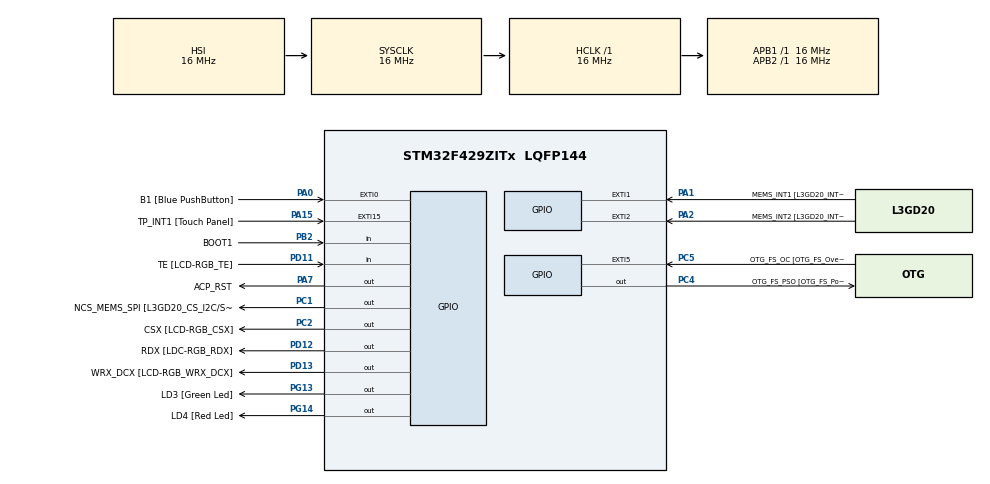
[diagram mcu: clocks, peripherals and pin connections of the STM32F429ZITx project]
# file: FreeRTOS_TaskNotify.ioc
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Mcu.Family=STM32F4
Mcu.Name=STM32F429ZITx
Mcu.Package=LQFP144
NVIC.PriorityGroup=NVIC_PRIORITYGROUP_4
NVIC.TIM6_DAC_IRQn=true\:0\:0\:false\:false\:true\:false\:true\:true
NVIC.TimeBase=TIM6_DAC_IRQn
NVIC.TimeBaseIP=TIM6
PA0/WKUP.GPIO_Label=B1 [Blue PushButton]
PA0/WKUP.GPIO_ModeDefaultEXTI=GPIO_MODE_EVT_RISING
PA0/WKUP.GPIO_PuPd=GPIO_NOPULL
PA0/WKUP.Signal=GPXTI0
PA1.GPIO_Label=MEMS_INT1 [L3GD20_INT1]
PA1.GPIO_ModeDefaultEXTI=GPIO_MODE_EVT_RISING
PA1.GPIO_PuPd=GPIO_NOPULL
PA1.Signal=GPXTI1
PA10.GPIO_Label=STLINK_TX [STM32F103CBT6_PA2]
PA10.Signal=USART1_RX
PA11.GPIO_Label=R4
PA11.GPIO_Mode=GPIO_MODE_AF_PP
PA11.GPIO_PuPd=GPIO_NOPULL
PA11.GPIO_Speed=GPIO_SPEED_FREQ_LOW
PA11.Signal=LTDC_R4
PA12.GPIO_Label=R5
PA12.GPIO_Mode=GPIO_MODE_AF_PP
PA12.GPIO_PuPd=GPIO_NOPULL
PA12.GPIO_Speed=GPIO_SPEED_FREQ_LOW
PA12.Signal=LTDC_R5
PA13.GPIO_Label=SWDIO
PA13.Mode=Serial_Wire
PA13.Signal=SYS_JTMS-SWDIO
PA14.GPIO_Label=SWCLK
PA14.Mode=Serial_Wire
PA14.Signal=SYS_JTCK-SWCLK
PA15.GPIO_Label=TP_INT1 [Touch Panel]
PA15.GPIO_ModeDefaultEXTI=GPIO_MODE_EVT_RISING
PA15.GPIO_PuPd=GPIO_NOPULL
PA15.Signal=GPXTI15
PA2.GPIO_Label=MEMS_INT2 [L3GD20_INT2]
PA2.GPIO_ModeDefaultEXTI=GPIO_MODE_EVT_RISING
PA2.GPIO_PuPd=GPIO_NOPULL
PA2.Signal=GPXTI2
PA3.GPIO_Label=B5
PA3.GPIO_Mode=GPIO_MODE_AF_PP
PA3.GPIO_PuPd=GPIO_NOPULL
PA3.GPIO_Speed=GPIO_SPEED_FREQ_LOW
PA3.Signal=LTDC_B5
PA4.GPIO_Label=VSYNC
PA4.GPIO_Mode=GPIO_MODE_AF_PP
PA4.GPIO_PuPd=GPIO_NOPULL
PA4.GPIO_Speed=GPIO_SPEED_FREQ_LOW
PA4.Signal=LTDC_VSYNC
PA6.GPIO_Label=G2
PA6.GPIO_Mode=GPIO_MODE_AF_PP
PA6.GPIO_PuPd=GPIO_NOPULL
PA6.GPIO_Speed=GPIO_SPEED_FREQ_LOW
PA6.Signal=LTDC_G2
PA7.GPIO_Label=ACP_RST
PA7.GPIO_Mode=GPIO_MODE_OUTPUT_PP
PA7.GPIO_PuPd=GPIO_NOPULL
PA7.GPIO_Speed=GPIO_SPEED_FREQ_LOW
PA7.Signal=GPIO_Output
PA8.GPIO_Label=I2C3_SCL [ACP/RF_SCL]
PA8.GPIO_Mode=GPIO_MODE_AF_OD
PA8.GPIO_PuPd=GPIO_NOPULL
PA8.GPIO_Speed=GPIO_SPEED_FREQ_LOW
PA8.Signal=I2C3_SCL
PA9.GPIO_Label=STLINK_RX [STM32F103CBT6_PA3]
PA9.Signal=USART1_TX
PB0.GPIO_Label=R3
PB0.GPIO_Mode=GPIO_MODE_AF_PP
PB0.GPIO_PuPd=GPIO_NOPULL
PB0.GPIO_Speed=GPIO_SPEED_FREQ_LOW
PB0.Signal=LTDC_R3
PB1.GPIO_Label=R6
PB1.GPIO_Mode=GPIO_MODE_AF_PP
PB1.GPIO_PuPd=GPIO_NOPULL
PB1.GPIO_Speed=GPIO_SPEED_FREQ_LOW
PB1.Signal=LTDC_R6
PB10.GPIO_Label=G4
PB10.GPIO_Mode=GPIO_MODE_AF_PP
PB10.GPIO_PuPd=GPIO_NOPULL
PB10.GPIO_Speed=GPIO_SPEED_FREQ_LOW
PB10.Signal=LTDC_G4
PB11.GPIO_Label=G5
PB11.GPIO_Mode=GPIO_MODE_AF_PP
PB11.GPIO_PuPd=GPIO_NOPULL
PB11.GPIO_Speed=GPIO_SPEED_FREQ_LOW
PB11.Signal=LTDC_G5
PB12.GPIO_Label=OTG_HS_ID
PB12.GPIO_Mode=GPIO_MODE_AF_PP
PB12.GPIO_PuPd=GPIO_NOPULL
PB12.GPIO_Speed=GPIO_SPEED_FREQ_LOW
PB12.Signal=USB_OTG_HS_ID
PB13.GPIO_Label=VBUS_HS
PB13.GPIO_Mode=GPIO_MODE_INPUT
PB13.GPIO_PuPd=GPIO_NOPULL
PB13.Signal=USB_OTG_HS_VBUS
PB14.GPIO_Label=OTG_HS_DM
PB14.GPIO_Mode=GPIO_MODE_AF_PP
PB14.GPIO_PuPd=GPIO_NOPULL
PB14.GPIO_Speed=GPIO_SPEED_FREQ_LOW
PB14.Signal=USB_OTG_HS_DM
PB15.GPIO_Label=OTG_HS_DP
PB15.GPIO_Mode=GPIO_MODE_AF_PP
PB15.GPIO_PuPd=GPIO_NOPULL
PB15.GPIO_Speed=GPIO_SPEED_FREQ_LOW
PB15.Signal=USB_OTG_HS_DP
PB2/BOOT1.GPIO_Label=BOOT1
PB2/BOOT1.GPIO_Mode=GPIO_MODE_INPUT
PB2/BOOT1.GPIO_PuPd=GPIO_NOPULL
PB2/BOOT1.Signal=GPIO_Input
PB5.GPIO_Label=SDCKE1
PB5.GPIO_Mode=GPIO_MODE_AF_PP
PB5.GPIO_PuPd=GPIO_NOPULL
PB5.GPIO_Speed=GPIO_SPEED_FREQ_VERY_HIGH
PB5.Signal=FMC_SDCKE1
PB6.GPIO_Label=SDNE1 [SDRAM_CS]
PB6.GPIO_Mode=GPIO_MODE_AF_PP
PB6.GPIO_PuPd=GPIO_NOPULL
PB6.GPIO_Speed=GPIO_SPEED_FREQ_VERY_HIGH
PB6.Signal=FMC_SDNE1
PB8.GPIO_Label=B6
PB8.GPIO_Mode=GPIO_MODE_AF_PP
PB8.GPIO_PuPd=GPIO_NOPULL
PB8.GPIO_Speed=GPIO_SPEED_FREQ_LOW
PB8.Signal=LTDC_B6
PB9.GPIO_Label=B7
PB9.GPIO_Mode=GPIO_MODE_AF_PP
PB9.GPIO_PuPd=GPIO_NOPULL
PB9.GPIO_Speed=GPIO_SPEED_FREQ_LOW
PB9.Signal=LTDC_B7
PC0.GPIO_Label=SDNWE
PC0.GPIO_Mode=GPIO_MODE_AF_PP
PC0.GPIO_PuPd=GPIO_NOPULL
PC0.GPIO_Speed=GPIO_SPEED_FREQ_VERY_HIGH
PC0.Signal=FMC_SDNWE
PC1.GPIO_Label=NCS_MEMS_SPI [L3GD20_CS_I2C/SPI]
PC1.GPIO_Mode=GPIO_MODE_OUTPUT_PP
PC1.GPIO_PuPd=GPIO_NOPULL
PC1.GPIO_Speed=GPIO_SPEED_FREQ_LOW
PC1.Signal=GPIO_Output
PC10.GPIO_Label=R2
PC10.GPIO_Mode=GPIO_MODE_AF_PP
PC10.GPIO_PuPd=GPIO_NOPULL
PC10.GPIO_Speed=GPIO_SPEED_FREQ_LOW
PC10.Signal=LTDC_R2
PC14/OSC32_IN.GPIO_Label=PC14-OSC32_IN
PC14/OSC32_IN.Signal=RCC_OSC32_IN
PC15/OSC32_OUT.GPIO_Label=PC15-OSC32_OUT
PC15/OSC32_OUT.Signal=RCC_OSC32_OUT
PC2.GPIO_Label=CSX [LCD-RGB_CSX]
PC2.GPIO_Mode=GPIO_MODE_OUTPUT_PP
PC2.GPIO_PuPd=GPIO_NOPULL
PC2.GPIO_Speed=GPIO_SPEED_FREQ_LOW
PC2.Signal=GPIO_Output
PC4.GPIO_Label=OTG_FS_PSO [OTG_FS_PowerSwitchOn]
PC4.GPIO_Mode=GPIO_MODE_OUTPUT_PP
PC4.GPIO_PuPd=GPIO_NOPULL
PC4.GPIO_Speed=GPIO_SPEED_FREQ_LOW
PC4.Signal=GPIO_Output
PC5.GPIO_Label=OTG_FS_OC [OTG_FS_OverCurrent]
PC5.GPIO_ModeDefaultEXTI=GPIO_MODE_EVT_RISING
PC5.Signal=GPXTI5
PC6.GPIO_Label=HSYNC
PC6.GPIO_Mode=GPIO_MODE_AF_PP
PC6.GPIO_PuPd=GPIO_NOPULL
PC6.GPIO_Speed=GPIO_SPEED_FREQ_LOW
PC6.Signal=LTDC_HSYNC
PC7.GPIO_Label=G6
PC7.GPIO_Mode=GPIO_MODE_AF_PP
PC7.GPIO_PuPd=GPIO_NOPULL
PC7.GPIO_Speed=GPIO_SPEED_FREQ_LOW
PC7.Signal=LTDC_G6
PC9.GPIO_Label=I2C3_SDA [ACP/RF_SDA]
PC9.GPIO_Mode=GPIO_MODE_AF_OD
PC9.GPIO_PuPd=GPIO_NOPULL
PC9.GPIO_Speed=GPIO_SPEED_FREQ_LOW
PC9.Signal=I2C3_SDA
PD0.GPIO_Label=D2
PD0.GPIO_Mode=GPIO_MODE_AF_PP
PD0.GPIO_PuPd=GPIO_NOPULL
PD0.GPIO_Speed=GPIO_SPEED_FREQ_VERY_HIGH
PD0.Signal=FMC_D2_DA2
PD1.GPIO_Label=D3
PD1.GPIO_Mode=GPIO_MODE_AF_PP
PD1.GPIO_PuPd=GPIO_NOPULL
PD1.GPIO_Speed=GPIO_SPEED_FREQ_VERY_HIGH
PD1.Signal=FMC_D3_DA3
PD10.GPIO_Label=D15
PD10.GPIO_Mode=GPIO_MODE_AF_PP
PD10.GPIO_PuPd=GPIO_NOPULL
PD10.GPIO_Speed=GPIO_SPEED_FREQ_VERY_HIGH
PD10.Signal=FMC_D15_DA15
PD11.GPIO_Label=TE [LCD-RGB_TE]
PD11.GPIO_Mode=GPIO_MODE_INPUT
PD11.GPIO_PuPd=GPIO_NOPULL
PD11.Signal=GPIO_Input
PD12.GPIO_Label=RDX [LDC-RGB_RDX]
PD12.GPIO_Mode=GPIO_MODE_OUTPUT_PP
PD12.GPIO_PuPd=GPIO_NOPULL
PD12.GPIO_Speed=GPIO_SPEED_FREQ_LOW
PD12.Signal=GPIO_Output
PD13.GPIO_Label=WRX_DCX [LCD-RGB_WRX_DCX]
PD13.GPIO_Mode=GPIO_MODE_OUTPUT_PP
PD13.GPIO_PuPd=GPIO_NOPULL
PD13.GPIO_Speed=GPIO_SPEED_FREQ_LOW
PD13.Signal=GPIO_Output
PD14.GPIO_Label=D0
PD14.GPIO_Mode=GPIO_MODE_AF_PP
PD14.GPIO_PuPd=GPIO_NOPULL
PD14.GPIO_Speed=GPIO_SPEED_FREQ_VERY_HIGH
PD14.Signal=FMC_D0_DA0
PD15.GPIO_Label=D1
PD15.GPIO_Mode=GPIO_MODE_AF_PP
PD15.GPIO_PuPd=GPIO_NOPULL
PD15.GPIO_Speed=GPIO_SPEED_FREQ_VERY_HIGH
PD15.Signal=FMC_D1_DA1
PD3.GPIO_Label=G7
PD3.GPIO_Mode=GPIO_MODE_AF_PP
PD3.GPIO_PuPd=GPIO_NOPULL
PD3.GPIO_Speed=GPIO_SPEED_FREQ_LOW
PD3.Signal=LTDC_G7
PD6.GPIO_Label=B2
PD6.GPIO_Mode=GPIO_MODE_AF_PP
PD6.GPIO_PuPd=GPIO_NOPULL
PD6.GPIO_Speed=GPIO_SPEED_FREQ_LOW
PD6.Signal=LTDC_B2
PD8.GPIO_Label=D13
PD8.GPIO_Mode=GPIO_MODE_AF_PP
PD8.GPIO_PuPd=GPIO_NOPULL
PD8.GPIO_Speed=GPIO_SPEED_FREQ_VERY_HIGH
PD8.Signal=FMC_D13_DA13
PD9.GPIO_Label=D14
PD9.GPIO_Mode=GPIO_MODE_AF_PP
PD9.GPIO_PuPd=GPIO_NOPULL
PD9.GPIO_Speed=GPIO_SPEED_FREQ_VERY_HIGH
PD9.Signal=FMC_D14_DA14
PE0.GPIO_Label=NBL0 [SDRAM_LDQM]
PE0.GPIO_Mode=GPIO_MODE_AF_PP
PE0.GPIO_PuPd=GPIO_NOPULL
PE0.GPIO_Speed=GPIO_SPEED_FREQ_VERY_HIGH
PE0.Signal=FMC_NBL0
PE1.GPIO_Label=NBL1 [SDRAM_UDQM]
PE1.GPIO_Mode=GPIO_MODE_AF_PP
PE1.GPIO_PuPd=GPIO_NOPULL
PE1.GPIO_Speed=GPIO_SPEED_FREQ_VERY_HIGH
PE1.Signal=FMC_NBL1
PE10.GPIO_Label=D7
PE10.GPIO_Mode=GPIO_MODE_AF_PP
PE10.GPIO_PuPd=GPIO_NOPULL
PE10.GPIO_Speed=GPIO_SPEED_FREQ_VERY_HIGH
PE10.Signal=FMC_D7_DA7
PE11.GPIO_Label=D8
PE11.GPIO_Mode=GPIO_MODE_AF_PP
PE11.GPIO_PuPd=GPIO_NOPULL
PE11.GPIO_Speed=GPIO_SPEED_FREQ_VERY_HIGH
PE11.Signal=FMC_D8_DA8
PE12.GPIO_Label=D9
PE12.GPIO_Mode=GPIO_MODE_AF_PP
PE12.GPIO_PuPd=GPIO_NOPULL
PE12.GPIO_Speed=GPIO_SPEED_FREQ_VERY_HIGH
PE12.Signal=FMC_D9_DA9
PE13.GPIO_Label=D10
PE13.GPIO_Mode=GPIO_MODE_AF_PP
PE13.GPIO_PuPd=GPIO_NOPULL
PE13.GPIO_Speed=GPIO_SPEED_FREQ_VERY_HIGH
PE13.Signal=FMC_D10_DA10
PE14.GPIO_Label=D11
PE14.GPIO_Mode=GPIO_MODE_AF_PP
PE14.GPIO_PuPd=GPIO_NOPULL
PE14.GPIO_Speed=GPIO_SPEED_FREQ_VERY_HIGH
PE14.Signal=FMC_D11_DA11
PE15.GPIO_Label=D12
PE15.GPIO_Mode=GPIO_MODE_AF_PP
PE15.GPIO_PuPd=GPIO_NOPULL
PE15.GPIO_Speed=GPIO_SPEED_FREQ_VERY_HIGH
PE15.Signal=FMC_D12_DA12
PE7.GPIO_Label=D4
PE7.GPIO_Mode=GPIO_MODE_AF_PP
PE7.GPIO_PuPd=GPIO_NOPULL
PE7.GPIO_Speed=GPIO_SPEED_FREQ_VERY_HIGH
PE7.Signal=FMC_D4_DA4
PE8.GPIO_Label=D5
PE8.GPIO_Mode=GPIO_MODE_AF_PP
PE8.GPIO_PuPd=GPIO_NOPULL
PE8.GPIO_Speed=GPIO_SPEED_FREQ_VERY_HIGH
PE8.Signal=FMC_D5_DA5
PE9.GPIO_Label=D6
PE9.GPIO_Mode=GPIO_MODE_AF_PP
PE9.GPIO_PuPd=GPIO_NOPULL
PE9.GPIO_Speed=GPIO_SPEED_FREQ_VERY_HIGH
PE9.Signal=FMC_D6_DA6
PF0.GPIO_Label=A0
PF0.GPIO_Mode=GPIO_MODE_AF_PP
PF0.GPIO_PuPd=GPIO_NOPULL
PF0.GPIO_Speed=GPIO_SPEED_FREQ_VERY_HIGH
PF0.Signal=FMC_A0
PF1.GPIO_Label=A1
PF1.GPIO_Mode=GPIO_MODE_AF_PP
PF1.GPIO_PuPd=GPIO_NOPULL
PF1.GPIO_Speed=GPIO_SPEED_FREQ_VERY_HIGH
PF1.Signal=FMC_A1
PF10.GPIO_Label=ENABLE [LCD-RGB_ENABLE]
PF10.GPIO_Mode=GPIO_MODE_AF_PP
PF10.GPIO_PuPd=GPIO_NOPULL
PF10.GPIO_Speed=GPIO_SPEED_FREQ_LOW
PF10.Signal=LTDC_DE
PF11.GPIO_Label=SDNRAS
PF11.GPIO_Mode=GPIO_MODE_AF_PP
PF11.GPIO_PuPd=GPIO_NOPULL
PF11.GPIO_Speed=GPIO_SPEED_FREQ_VERY_HIGH
PF11.Signal=FMC_SDNRAS
PF12.GPIO_Label=A6
PF12.GPIO_Mode=GPIO_MODE_AF_PP
PF12.GPIO_PuPd=GPIO_NOPULL
PF12.GPIO_Speed=GPIO_SPEED_FREQ_VERY_HIGH
PF12.Signal=FMC_A6
PF13.GPIO_Label=A7
PF13.GPIO_Mode=GPIO_MODE_AF_PP
PF13.GPIO_PuPd=GPIO_NOPULL
PF13.GPIO_Speed=GPIO_SPEED_FREQ_VERY_HIGH
PF13.Signal=FMC_A7
PF14.GPIO_Label=A8
PF14.GPIO_Mode=GPIO_MODE_AF_PP
PF14.GPIO_PuPd=GPIO_NOPULL
PF14.GPIO_Speed=GPIO_SPEED_FREQ_VERY_HIGH
PF14.Signal=FMC_A8
PF15.GPIO_Label=A9
PF15.GPIO_Mode=GPIO_MODE_AF_PP
PF15.GPIO_PuPd=GPIO_NOPULL
PF15.GPIO_Speed=GPIO_SPEED_FREQ_VERY_HIGH
PF15.Signal=FMC_A9
PF2.GPIO_Label=A2
PF2.GPIO_Mode=GPIO_MODE_AF_PP
PF2.GPIO_PuPd=GPIO_NOPULL
PF2.GPIO_Speed=GPIO_SPEED_FREQ_VERY_HIGH
PF2.Signal=FMC_A2
PF3.GPIO_Label=A3
PF3.GPIO_Mode=GPIO_MODE_AF_PP
PF3.GPIO_PuPd=GPIO_NOPULL
PF3.GPIO_Speed=GPIO_SPEED_FREQ_VERY_HIGH
PF3.Signal=FMC_A3
PF4.GPIO_Label=A4
PF4.GPIO_Mode=GPIO_MODE_AF_PP
PF4.GPIO_PuPd=GPIO_NOPULL
PF4.GPIO_Speed=GPIO_SPEED_FREQ_VERY_HIGH
PF4.Signal=FMC_A4
PF5.GPIO_Label=A5
PF5.GPIO_Mode=GPIO_MODE_AF_PP
PF5.GPIO_PuPd=GPIO_NOPULL
PF5.GPIO_Speed=GPIO_SPEED_FREQ_VERY_HIGH
PF5.Signal=FMC_A5
PF7.GPIO_Label=SPI5_SCK [L3GD20_SCL/SPC]
PF7.GPIO_Mode=GPIO_MODE_AF_PP
PF7.GPIO_PuPd=GPIO_NOPULL
PF7.GPIO_Speed=GPIO_SPEED_FREQ_LOW
PF7.Signal=SPI5_SCK
PF8.GPIO_Label=SPI5_MISO [L3GD20_SDO]
PF8.GPIO_Mode=GPIO_MODE_AF_PP
PF8.GPIO_PuPd=GPIO_NOPULL
PF8.GPIO_Speed=GPIO_SPEED_FREQ_LOW
PF8.Signal=SPI5_MISO
PF9.GPIO_Label=SPI5_MOSI [L3GD20_SDA/SDI/SDO]
PF9.GPIO_Mode=GPIO_MODE_AF_PP
PF9.GPIO_PuPd=GPIO_NOPULL
PF9.GPIO_Speed=GPIO_SPEED_FREQ_LOW
PF9.Signal=SPI5_MOSI
PG0.GPIO_Label=A10
PG0.GPIO_Mode=GPIO_MODE_AF_PP
PG0.GPIO_PuPd=GPIO_NOPULL
PG0.GPIO_Speed=GPIO_SPEED_FREQ_VERY_HIGH
PG0.Signal=FMC_A10
PG1.GPIO_Label=A11
PG1.GPIO_Mode=GPIO_MODE_AF_PP
PG1.GPIO_PuPd=GPIO_NOPULL
PG1.GPIO_Speed=GPIO_SPEED_FREQ_VERY_HIGH
PG1.Signal=FMC_A11
PG10.GPIO_Label=G3
PG10.GPIO_Mode=GPIO_MODE_AF_PP
PG10.GPIO_PuPd=GPIO_NOPULL
PG10.GPIO_Speed=GPIO_SPEED_FREQ_LOW
PG10.Signal=LTDC_G3
PG11.GPIO_Label=B3
PG11.GPIO_Mode=GPIO_MODE_AF_PP
PG11.GPIO_PuPd=GPIO_NOPULL
PG11.GPIO_Speed=GPIO_SPEED_FREQ_LOW
PG11.Signal=LTDC_B3
PG12.GPIO_Label=B4
PG12.GPIO_Mode=GPIO_MODE_AF_PP
PG12.GPIO_PuPd=GPIO_NOPULL
PG12.GPIO_Speed=GPIO_SPEED_FREQ_LOW
PG12.Signal=LTDC_B4
PG13.GPIO_Label=LD3 [Green Led]
PG13.GPIO_Mode=GPIO_MODE_OUTPUT_PP
PG13.GPIO_PuPd=GPIO_NOPULL
PG13.GPIO_Speed=GPIO_SPEED_FREQ_LOW
PG13.Signal=GPIO_Output
PG14.GPIO_Label=LD4 [Red Led]
PG14.GPIO_Mode=GPIO_MODE_OUTPUT_PP
PG14.GPIO_PuPd=GPIO_NOPULL
PG14.GPIO_Speed=GPIO_SPEED_FREQ_LOW
PG14.Signal=GPIO_Output
PG15.GPIO_Label=SDNCAS
PG15.GPIO_Mode=GPIO_MODE_AF_PP
PG15.GPIO_PuPd=GPIO_NOPULL
PG15.GPIO_Speed=GPIO_SPEED_FREQ_VERY_HIGH
PG15.Signal=FMC_SDNCAS
PG4.GPIO_Label=BA0
PG4.GPIO_Mode=GPIO_MODE_AF_PP
PG4.GPIO_PuPd=GPIO_NOPULL
PG4.GPIO_Speed=GPIO_SPEED_FREQ_VERY_HIGH
PG4.Signal=FMC_A14_BA0
PG5.GPIO_Label=BA1
PG5.GPIO_Mode=GPIO_MODE_AF_PP
PG5.GPIO_PuPd=GPIO_NOPULL
PG5.GPIO_Speed=GPIO_SPEED_FREQ_VERY_HIGH
PG5.Signal=FMC_A15_BA1
PG6.GPIO_Label=R7
PG6.GPIO_Mode=GPIO_MODE_AF_PP
PG6.GPIO_PuPd=GPIO_NOPULL
PG6.GPIO_Speed=GPIO_SPEED_FREQ_LOW
PG6.Signal=LTDC_R7
PG7.GPIO_Label=DOTCLK [LCT-RGB_DOTCLK]
PG7.GPIO_Mode=GPIO_MODE_AF_PP
PG7.GPIO_PuPd=GPIO_NOPULL
PG7.GPIO_Speed=GPIO_SPEED_FREQ_LOW
PG7.Signal=LTDC_CLK
PG8.GPIO_Label=SDCLK
PG8.GPIO_Mode=GPIO_MODE_AF_PP
PG8.GPIO_PuPd=GPIO_NOPULL
PG8.GPIO_Speed=GPIO_SPEED_FREQ_VERY_HIGH
PG8.Signal=FMC_SDCLK
PH0/OSC_IN.GPIO_Label=PH0-OSC_IN
PH0/OSC_IN.Signal=RCC_OSC_IN
PH1/OSC_OUT.GPIO_Label=PH1-OSC_OUT
PH1/OSC_OUT.Signal=RCC_OSC_OUT
ProjectManager.HeapSize=0x200
ProjectManager.StackSize=0x400
ProjectManager.TargetToolchain=STM32CubeIDE
RCC.48MHZClocksFreq_Value=14285714.285714285
RCC.AHBFreq_Value=16000000
RCC.APB1Freq_Value=16000000
RCC.APB1TimFreq_Value=16000000
RCC.APB2Freq_Value=16000000
RCC.APB2TimFreq_Value=16000000
RCC.CortexFreq_Value=16000000
RCC.HCLKFreq_Value=16000000
RCC.HSE_VALUE=8000000
RCC.HSI_VALUE=16000000
RCC.LSE_VALUE=32768
RCC.PLLM=8
RCC.PLLN=50
RCC.PLLP=RCC_PLLP_DIV4
RCC.PLLQ=7
RCC.SYSCLKFreq_VALUE=16000000
RCC.VCOOutputFreq_Value=100000000
SH.FMC_A0.0=FMC_A0
SH.FMC_A1.0=FMC_A1
SH.FMC_A10.0=FMC_A10
SH.FMC_A11.0=FMC_A11
SH.FMC_A14_BA0.0=FMC_BA0
SH.FMC_A15_BA1.0=FMC_BA1
SH.FMC_A2.0=FMC_A2
SH.FMC_A3.0=FMC_A3
SH.FMC_A4.0=FMC_A4
SH.FMC_A5.0=FMC_A5
SH.FMC_A6.0=FMC_A6
SH.FMC_A7.0=FMC_A7
SH.FMC_A8.0=FMC_A8
SH.FMC_A9.0=FMC_A9
SH.FMC_D0_DA0.0=FMC_D0
SH.FMC_D10_DA10.0=FMC_D10
SH.FMC_D11_DA11.0=FMC_D11
SH.FMC_D12_DA12.0=FMC_D12
SH.FMC_D13_DA13.0=FMC_D13
SH.FMC_D14_DA14.0=FMC_D14
SH.FMC_D15_DA15.0=FMC_D15
SH.FMC_D1_DA1.0=FMC_D1
SH.FMC_D2_DA2.0=FMC_D2
SH.FMC_D3_DA3.0=FMC_D3
SH.FMC_D4_DA4.0=FMC_D4
SH.FMC_D5_DA5.0=FMC_D5
SH.FMC_D6_DA6.0=FMC_D6
SH.FMC_D7_DA7.0=FMC_D7
SH.FMC_D8_DA8.0=FMC_D8
SH.FMC_D9_DA9.0=FMC_D9
SH.FMC_NBL0.0=FMC_NBL0
SH.FMC_NBL1.0=FMC_NBL1
SH.FMC_SDCLK.0=FMC_SDCLK
SH.FMC_SDNCAS.0=FMC_SDNCAS
SH.FMC_SDNRAS.0=FMC_SDNRAS
SH.FMC_SDNWE.0=FMC_SDNWE
VP_SYS_VS_tim6.Mode=TIM6
board=STM32F429I-DISC1

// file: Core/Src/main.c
/* USER CODE BEGIN Header */
/**
  ******************************************************************************
  * @file           : main.c
  * @brief          : Main program body
  ******************************************************************************
  * @attention
  *
  * Copyright (c) 2022 STMicroelectronics.
  * All rights reserved.
  *
  * This software is licensed under terms that can be found in the LICENSE file
  * in the root directory of this software component.
  * If no LICENSE file comes with this software, it is provided AS-IS.
  *
  ******************************************************************************
  */
/* USER CODE END Header */
#include "main.h"

/* USER CODE BEGIN Includes */
#include "FreeRTOS.h"
#include "task.h"
#include <stdio.h>
#include "SEGGER_SYSVIEW.h"
/* USER CODE END Includes */

/* USER CODE BEGIN PM */
#define DWT_CTRL            (*(volatile uint32_t*)0xE0001000u)
/* USER CODE END PM */

void SystemClock_Config(void);
static void MX_GPIO_Init(void);
/* USER CODE BEGIN PFP */
static void GreenLED_TaskHandler( void* parameter);
static void RedLED_TaskHandler( void* parameter );
static void Button_TaskHandler( void* parameter );
/* USER CODE END PFP */

/* USER CODE BEGIN 0 */
/* We need task handles to delete the tasks */
TaskHandle_t green_led_task_handle;
TaskHandle_t red_led_task_handle;
TaskHandle_t button_task_handle;
/* This is a global task handler to hold the handle of the next task to be deleted*/
volatile TaskHandle_t next_task_handle = NULL;
/* USER CODE END 0 */

int main(void)
{
  /* USER CODE BEGIN 1 */
  BaseType_t status;
  /* USER CODE END 1 */

  /* MCU Configuration--------------------------------------------------------*/

  /* Reset of all peripherals, Initializes the Flash interface and the Systick. */
  HAL_Init();

  /* Configure the system clock */
  SystemClock_Config();

  /* Initialize all configured peripherals */
  MX_GPIO_Init();
  /* USER CODE BEGIN 2 */

  /* Enable the Cycle Counter i.e. CYCCNT */
  DWT_CTRL |= (0x01 << 0);

  /* SystemView should be configured and start before using any FreeRTOS API's */
  SEGGER_SYSVIEW_Conf();
  SEGGER_SYSVIEW_Start();

  /* Create Task-1*/
  status = xTaskCreate(GreenLED_TaskHandler, "Green LED", 200, NULL, 2, &green_led_task_handle);
  configASSERT(status == pdPASS);
  /* Create Task-2*/
  status = xTaskCreate(RedLED_TaskHandler, "Red LED", 200, NULL, 2, &red_led_task_handle );
  configASSERT(status == pdPASS);
  /* Create Button, with high priority*/
  status = xTaskCreate(Button_TaskHandler, "Button Task", 200, NULL, 4, &button_task_handle );
  configASSERT(status == pdPASS);

  /* Store the next on which we have to take action of deleting */
  next_task_handle = green_led_task_handle;

  /* Start the Scheduler */
  vTaskStartScheduler();
  /* control shouldn't come here, if it is coming then there is some problem */
  /* this failure can happen due to insufficient memory in heap */

  /* USER CODE END 2 */

  /* Infinite loop */
  while (1)
  {

  }
}

void SystemClock_Config(void)
{
  RCC_OscInitTypeDef RCC_OscInitStruct = {0};
  RCC_ClkInitTypeDef RCC_ClkInitStruct = {0};

  /** Configure the main internal regulator output voltage
  */
  __HAL_RCC_PWR_CLK_ENABLE();
  __HAL_PWR_VOLTAGESCALING_CONFIG(PWR_REGULATOR_VOLTAGE_SCALE3);

  /** Initializes the RCC Oscillators according to the specified parameters
  * in the RCC_OscInitTypeDef structure.
  */
  RCC_OscInitStruct.OscillatorType = RCC_OSCILLATORTYPE_HSI;
  RCC_OscInitStruct.HSIState = RCC_HSI_ON;
  RCC_OscInitStruct.HSICalibrationValue = RCC_HSICALIBRATION_DEFAULT;
  RCC_OscInitStruct.PLL.PLLState = RCC_PLL_NONE;
  if (HAL_RCC_OscConfig(&RCC_OscInitStruct) != HAL_OK)
  {
    Error_Handler();
  }

  /** Initializes the CPU, AHB and APB buses clocks
  */
  RCC_ClkInitStruct.ClockType = RCC_CLOCKTYPE_HCLK|RCC_CLOCKTYPE_SYSCLK
                              |RCC_CLOCKTYPE_PCLK1|RCC_CLOCKTYPE_PCLK2;
  RCC_ClkInitStruct.SYSCLKSource = RCC_SYSCLKSOURCE_HSI;
  RCC_ClkInitStruct.AHBCLKDivider = RCC_SYSCLK_DIV1;
  RCC_ClkInitStruct.APB1CLKDivider = RCC_HCLK_DIV1;
  RCC_ClkInitStruct.APB2CLKDivider = RCC_HCLK_DIV1;

  if (HAL_RCC_ClockConfig(&RCC_ClkInitStruct, FLASH_LATENCY_0) != HAL_OK)
  {
    Error_Handler();
  }
}

static void MX_GPIO_Init(void)
{
  GPIO_InitTypeDef GPIO_InitStruct = {0};

  /* GPIO Ports Clock Enable */
  __HAL_RCC_GPIOC_CLK_ENABLE();
  __HAL_RCC_GPIOF_CLK_ENABLE();
  __HAL_RCC_GPIOH_CLK_ENABLE();
  __HAL_RCC_GPIOA_CLK_ENABLE();
  __HAL_RCC_GPIOB_CLK_ENABLE();
  __HAL_RCC_GPIOG_CLK_ENABLE();
  __HAL_RCC_GPIOE_CLK_ENABLE();
  __HAL_RCC_GPIOD_CLK_ENABLE();

  /*Configure GPIO pin Output Level */
  HAL_GPIO_WritePin(GPIOC, NCS_MEMS_SPI_Pin|CSX_Pin|OTG_FS_PSO_Pin, GPIO_PIN_RESET);

  /*Configure GPIO pin Output Level */
  HAL_GPIO_WritePin(ACP_RST_GPIO_Port, ACP_RST_Pin, GPIO_PIN_RESET);

  /*Configure GPIO pin Output Level */
  HAL_GPIO_WritePin(GPIOD, RDX_Pin|WRX_DCX_Pin, GPIO_PIN_RESET);

  /*Configure GPIO pin Output Level */
  HAL_GPIO_WritePin(GPIOG, LD3_Pin|LD4_Pin, GPIO_PIN_RESET);

  /*Configure GPIO pins : A0_Pin A1_Pin A2_Pin A3_Pin
                           A4_Pin A5_Pin SDNRAS_Pin A6_Pin
                           A7_Pin A8_Pin A9_Pin */
  GPIO_InitStruct.Pin = A0_Pin|A1_Pin|A2_Pin|A3_Pin
                          |A4_Pin|A5_Pin|SDNRAS_Pin|A6_Pin
                          |A7_Pin|A8_Pin|A9_Pin;
  GPIO_InitStruct.Mode = GPIO_MODE_AF_PP;
  GPIO_InitStruct.Pull = GPIO_NOPULL;
  GPIO_InitStruct.Speed = GPIO_SPEED_FREQ_VERY_HIGH;
  GPIO_InitStruct.Alternate = GPIO_AF12_FMC;
  HAL_GPIO_Init(GPIOF, &GPIO_InitStruct);

  /*Configure GPIO pins : SPI5_SCK_Pin SPI5_MISO_Pin SPI5_MOSI_Pin */
  GPIO_InitStruct.Pin = SPI5_SCK_Pin|SPI5_MISO_Pin|SPI5_MOSI_Pin;
  GPIO_InitStruct.Mode = GPIO_MODE_AF_PP;
  GPIO_InitStruct.Pull = GPIO_NOPULL;
  GPIO_InitStruct.Speed = GPIO_SPEED_FREQ_LOW;
  GPIO_InitStruct.Alternate = GPIO_AF5_SPI5;
  HAL_GPIO_Init(GPIOF, &GPIO_InitStruct);

  /*Configure GPIO pin : ENABLE_Pin */
  GPIO_InitStruct.Pin = ENABLE_Pin;
  GPIO_InitStruct.Mode = GPIO_MODE_AF_PP;
  GPIO_InitStruct.Pull = GPIO_NOPULL;
  GPIO_InitStruct.Speed = GPIO_SPEED_FREQ_LOW;
  GPIO_InitStruct.Alternate = GPIO_AF14_LTDC;
  HAL_GPIO_Init(ENABLE_GPIO_Port, &GPIO_InitStruct);

  /*Configure GPIO pin : SDNWE_Pin */
  GPIO_InitStruct.Pin = SDNWE_Pin;
  GPIO_InitStruct.Mode = GPIO_MODE_AF_PP;
  GPIO_InitStruct.Pull = GPIO_NOPULL;
  GPIO_InitStruct.Speed = GPIO_SPEED_FREQ_VERY_HIGH;
  GPIO_InitStruct.Alternate = GPIO_AF12_FMC;
  HAL_GPIO_Init(SDNWE_GPIO_Port, &GPIO_InitStruct);

  /*Configure GPIO pins : NCS_MEMS_SPI_Pin CSX_Pin OTG_FS_PSO_Pin */
  GPIO_InitStruct.Pin = NCS_MEMS_SPI_Pin|CSX_Pin|OTG_FS_PSO_Pin;
  GPIO_InitStruct.Mode = GPIO_MODE_OUTPUT_PP;
  GPIO_InitStruct.Pull = GPIO_NOPULL;
  GPIO_InitStruct.Speed = GPIO_SPEED_FREQ_LOW;
  HAL_GPIO_Init(GPIOC, &GPIO_InitStruct);

  /*Configure GPIO pins : B1_Pin MEMS_INT1_Pin MEMS_INT2_Pin TP_INT1_Pin */
  GPIO_InitStruct.Pin = B1_Pin|MEMS_INT1_Pin|MEMS_INT2_Pin|TP_INT1_Pin;
  GPIO_InitStruct.Mode = GPIO_MODE_EVT_RISING;
  GPIO_InitStruct.Pull = GPIO_NOPULL;
  HAL_GPIO_Init(GPIOA, &GPIO_InitStruct);

  /*Configure GPIO pins : B5_Pin VSYNC_Pin G2_Pin R4_Pin
                           R5_Pin */
  GPIO_InitStruct.Pin = B5_Pin|VSYNC_Pin|G2_Pin|R4_Pin
                          |R5_Pin;
  GPIO_InitStruct.Mode = GPIO_MODE_AF_PP;
  GPIO_InitStruct.Pull = GPIO_NOPULL;
  GPIO_InitStruct.Speed = GPIO_SPEED_FREQ_LOW;
  GPIO_InitStruct.Alternate = GPIO_AF14_LTDC;
  HAL_GPIO_Init(GPIOA, &GPIO_InitStruct);

  /*Configure GPIO pin : ACP_RST_Pin */
  GPIO_InitStruct.Pin = ACP_RST_Pin;
  GPIO_InitStruct.Mode = GPIO_MODE_OUTPUT_PP;
  GPIO_InitStruct.Pull = GPIO_NOPULL;
  GPIO_InitStruct.Speed = GPIO_SPEED_FREQ_LOW;
  HAL_GPIO_Init(ACP_RST_GPIO_Port, &GPIO_InitStruct);

  /*Configure GPIO pin : OTG_FS_OC_Pin */
  GPIO_InitStruct.Pin = OTG_FS_OC_Pin;
  GPIO_InitStruct.Mode = GPIO_MODE_EVT_RISING;
  GPIO_InitStruct.Pull = GPIO_NOPULL;
  HAL_GPIO_Init(OTG_FS_OC_GPIO_Port, &GPIO_InitStruct);

  /*Configure GPIO pins : R3_Pin R6_Pin */
  GPIO_InitStruct.Pin = R3_Pin|R6_Pin;
  GPIO_InitStruct.Mode = GPIO_MODE_AF_PP;
  GPIO_InitStruct.Pull = GPIO_NOPULL;
  GPIO_InitStruct.Speed = GPIO_SPEED_FREQ_LOW;
  GPIO_InitStruct.Alternate = GPIO_AF9_LTDC;
  HAL_GPIO_Init(GPIOB, &GPIO_InitStruct);

  /*Configure GPIO pin : BOOT1_Pin */
  GPIO_InitStruct.Pin = BOOT1_Pin;
  GPIO_InitStruct.Mode = GPIO_MODE_INPUT;
  GPIO_InitStruct.Pull = GPIO_NOPULL;
  HAL_GPIO_Init(BOOT1_GPIO_Port, &GPIO_InitStruct);

  /*Configure GPIO pins : A10_Pin A11_Pin BA0_Pin BA1_Pin
                           SDCLK_Pin SDNCAS_Pin */
  GPIO_InitStruct.Pin = A10_Pin|A11_Pin|BA0_Pin|BA1_Pin
                          |SDCLK_Pin|SDNCAS_Pin;
  GPIO_InitStruct.Mode = GPIO_MODE_AF_PP;
  GPIO_InitStruct.Pull = GPIO_NOPULL;
  GPIO_InitStruct.Speed = GPIO_SPEED_FREQ_VERY_HIGH;
  GPIO_InitStruct.Alternate = GPIO_AF12_FMC;
  HAL_GPIO_Init(GPIOG, &GPIO_InitStruct);

  /*Configure GPIO pins : D4_Pin D5_Pin D6_Pin D7_Pin
                           D8_Pin D9_Pin D10_Pin D11_Pin
                           D12_Pin NBL0_Pin NBL1_Pin */
  GPIO_InitStruct.Pin = D4_Pin|D5_Pin|D6_Pin|D7_Pin
                          |D8_Pin|D9_Pin|D10_Pin|D11_Pin
                          |D12_Pin|NBL0_Pin|NBL1_Pin;
  GPIO_InitStruct.Mode = GPIO_MODE_AF_PP;
  GPIO_InitStruct.Pull = GPIO_NOPULL;
  GPIO_InitStruct.Speed = GPIO_SPEED_FREQ_VERY_HIGH;
  GPIO_InitStruct.Alternate = GPIO_AF12_FMC;
  HAL_GPIO_Init(GPIOE, &GPIO_InitStruct);

  /*Configure GPIO pins : G4_Pin G5_Pin B6_Pin B7_Pin */
  GPIO_InitStruct.Pin = G4_Pin|G5_Pin|B6_Pin|B7_Pin;
  GPIO_InitStruct.Mode = GPIO_MODE_AF_PP;
  GPIO_InitStruct.Pull = GPIO_NOPULL;
  GPIO_InitStruct.Speed = GPIO_SPEED_FREQ_LOW;
  GPIO_InitStruct.Alternate = GPIO_AF14_LTDC;
  HAL_GPIO_Init(GPIOB, &GPIO_InitStruct);

  /*Configure GPIO pins : OTG_HS_ID_Pin OTG_HS_DM_Pin OTG_HS_DP_Pin */
  GPIO_InitStruct.Pin = OTG_HS_ID_Pin|OTG_HS_DM_Pin|OTG_HS_DP_Pin;
  GPIO_InitStruct.Mode = GPIO_MODE_AF_PP;
  GPIO_InitStruct.Pull = GPIO_NOPULL;
  GPIO_InitStruct.Speed = GPIO_SPEED_FREQ_LOW;
  GPIO_InitStruct.Alternate = GPIO_AF12_OTG_HS_FS;
  HAL_GPIO_Init(GPIOB, &GPIO_InitStruct);

  /*Configure GPIO pin : VBUS_HS_Pin */
  GPIO_InitStruct.Pin = VBUS_HS_Pin;
  GPIO_InitStruct.Mode = GPIO_MODE_INPUT;
  GPIO_InitStruct.Pull = GPIO_NOPULL;
  HAL_GPIO_Init(VBUS_HS_GPIO_Port, &GPIO_InitStruct);

  /*Configure GPIO pins : D13_Pin D14_Pin D15_Pin D0_Pin
                           D1_Pin D2_Pin D3_Pin */
  GPIO_InitStruct.Pin = D13_Pin|D14_Pin|D15_Pin|D0_Pin
                          |D1_Pin|D2_Pin|D3_Pin;
  GPIO_InitStruct.Mode = GPIO_MODE_AF_PP;
  GPIO_InitStruct.Pull = GPIO_NOPULL;
  GPIO_InitStruct.Speed = GPIO_SPEED_FREQ_VERY_HIGH;
  GPIO_InitStruct.Alternate = GPIO_AF12_FMC;
  HAL_GPIO_Init(GPIOD, &GPIO_InitStruct);

  /*Configure GPIO pin : TE_Pin */
  GPIO_InitStruct.Pin = TE_Pin;
  GPIO_InitStruct.Mode = GPIO_MODE_INPUT;
  GPIO_InitStruct.Pull = GPIO_NOPULL;
  HAL_GPIO_Init(TE_GPIO_Port, &GPIO_InitStruct);

  /*Configure GPIO pins : RDX_Pin WRX_DCX_Pin */
  GPIO_InitStruct.Pin = RDX_Pin|WRX_DCX_Pin;
  GPIO_InitStruct.Mode = GPIO_MODE_OUTPUT_PP;
  GPIO_InitStruct.Pull = GPIO_NOPULL;
  GPIO_InitStruct.Speed = GPIO_SPEED_FREQ_LOW;
  HAL_GPIO_Init(GPIOD, &GPIO_InitStruct);

  /*Configure GPIO pins : R7_Pin DOTCLK_Pin B3_Pin */
  GPIO_InitStruct.Pin = R7_Pin|DOTCLK_Pin|B3_Pin;
  GPIO_InitStruct.Mode = GPIO_MODE_AF_PP;
  GPIO_InitStruct.Pull = GPIO_NOPULL;
  GPIO_InitStruct.Speed = GPIO_SPEED_FREQ_LOW;
  GPIO_InitStruct.Alternate = GPIO_AF14_LTDC;
  HAL_GPIO_Init(GPIOG, &GPIO_InitStruct);

  /*Configure GPIO pins : HSYNC_Pin G6_Pin R2_Pin */
  GPIO_InitStruct.Pin = HSYNC_Pin|G6_Pin|R2_Pin;
  GPIO_InitStruct.Mode = GPIO_MODE_AF_PP;
  GPIO_InitStruct.Pull = GPIO_NOPULL;
  GPIO_InitStruct.Speed = GPIO_SPEED_FREQ_LOW;
  GPIO_InitStruct.Alternate = GPIO_AF14_LTDC;
  HAL_GPIO_Init(GPIOC, &GPIO_InitStruct);

  /*Configure GPIO pin : I2C3_SDA_Pin */
  GPIO_InitStruct.Pin = I2C3_SDA_Pin;
  GPIO_InitStruct.Mode = GPIO_MODE_AF_OD;
  GPIO_InitStruct.Pull = GPIO_NOPULL;
  GPIO_InitStruct.Speed = GPIO_SPEED_FREQ_LOW;
  GPIO_InitStruct.Alternate = GPIO_AF4_I2C3;
  HAL_GPIO_Init(I2C3_SDA_GPIO_Port, &GPIO_InitStruct);

  /*Configure GPIO pin : I2C3_SCL_Pin */
  GPIO_InitStruct.Pin = I2C3_SCL_Pin;
  GPIO_InitStruct.Mode = GPIO_MODE_AF_OD;
  GPIO_InitStruct.Pull = GPIO_NOPULL;
  GPIO_InitStruct.Speed = GPIO_SPEED_FREQ_LOW;
  GPIO_InitStruct.Alternate = GPIO_AF4_I2C3;
  HAL_GPIO_Init(I2C3_SCL_GPIO_Port, &GPIO_InitStruct);

  /*Configure GPIO pins : STLINK_RX_Pin STLINK_TX_Pin */
  GPIO_InitStruct.Pin = STLINK_RX_Pin|STLINK_TX_Pin;
  GPIO_InitStruct.Mode = GPIO_MODE_AF_PP;
  GPIO_InitStruct.Pull = GPIO_NOPULL;
  GPIO_InitStruct.Speed = GPIO_SPEED_FREQ_VERY_HIGH;
  GPIO_InitStruct.Alternate = GPIO_AF7_USART1;
  HAL_GPIO_Init(GPIOA, &GPIO_InitStruct);

  /*Configure GPIO pins : G7_Pin B2_Pin */
  GPIO_InitStruct.Pin = G7_Pin|B2_Pin;
  GPIO_InitStruct.Mode = GPIO_MODE_AF_PP;
  GPIO_InitStruct.Pull = GPIO_NOPULL;
  GPIO_InitStruct.Speed = GPIO_SPEED_FREQ_LOW;
  GPIO_InitStruct.Alternate = GPIO_AF14_LTDC;
  HAL_GPIO_Init(GPIOD, &GPIO_InitStruct);

  /*Configure GPIO pins : G3_Pin B4_Pin */
  GPIO_InitStruct.Pin = G3_Pin|B4_Pin;
  GPIO_InitStruct.Mode = GPIO_MODE_AF_PP;
  GPIO_InitStruct.Pull = GPIO_NOPULL;
  GPIO_InitStruct.Speed = GPIO_SPEED_FREQ_LOW;
  GPIO_InitStruct.Alternate = GPIO_AF9_LTDC;
  HAL_GPIO_Init(GPIOG, &GPIO_InitStruct);

  /*Configure GPIO pins : LD3_Pin LD4_Pin */
  GPIO_InitStruct.Pin = LD3_Pin|LD4_Pin;
  GPIO_InitStruct.Mode = GPIO_MODE_OUTPUT_PP;
  GPIO_InitStruct.Pull = GPIO_NOPULL;
  GPIO_InitStruct.Speed = GPIO_SPEED_FREQ_LOW;
  HAL_GPIO_Init(GPIOG, &GPIO_InitStruct);

  /*Configure GPIO pins : SDCKE1_Pin SDNE1_Pin */
  GPIO_InitStruct.Pin = SDCKE1_Pin|SDNE1_Pin;
  GPIO_InitStruct.Mode = GPIO_MODE_AF_PP;
  GPIO_InitStruct.Pull = GPIO_NOPULL;
  GPIO_InitStruct.Speed = GPIO_SPEED_FREQ_VERY_HIGH;
  GPIO_InitStruct.Alternate = GPIO_AF12_FMC;
  HAL_GPIO_Init(GPIOB, &GPIO_InitStruct);

}

/* USER CODE BEGIN 4 */
/* USER CODE BEGIN 4 */
static void GreenLED_TaskHandler( void* parameter)
{
  BaseType_t status;
  while( 1 )
  {
    SEGGER_SYSVIEW_PrintfTarget("Green LED Task\n");
    /* Toggle On Board Green Led */
    HAL_GPIO_TogglePin(LD3_GPIO_Port, LD3_Pin);
    status = xTaskNotifyWait(0, 0, NULL, pdMS_TO_TICKS(1000) );
    if( status == pdTRUE )
    {
      /* this means that this task has received the notification and it's time
      to delete this task, but before deleting update the handle for next task*/
      /*NOTE: new_task_handle is a global variable and updating it directly can
      have some issues, as it is shared with other tasks also, so it's better to
      protect this variable unintentionally, this can be done by suspending and
      resuming the scheduler */
      vTaskSuspendAll();
      next_task_handle = red_led_task_handle;
      xTaskResumeAll();
      /* before deleting turn on the LED permanently */
      HAL_GPIO_WritePin(LD3_GPIO_Port, LD3_Pin, GPIO_PIN_SET );
      /* passing NULL means deleting self */
      vTaskDelete(NULL);
    }
  }
}

static void RedLED_TaskHandler( void* parameter )
{
  BaseType_t status;
  while( 1 )
  {
    SEGGER_SYSVIEW_PrintfTarget("RED LED Task\n");
    /* Toggle On Board RED Led */
    HAL_GPIO_TogglePin(LD4_GPIO_Port, LD4_Pin);
    status = xTaskNotifyWait(0, 0, NULL, pdMS_TO_TICKS(500) );
    if( status == pdTRUE )
    {
      /* this means that this task has received the notification and it's time
      to delete this task, & since no other next task it is set to NULL */
      /*NOTE: new_task_handle is a global variable and updating it directly can
      have some issues, as it is shared with other tasks also, so it's better to
      protect this variable unintentionally, this can be done by suspending and
      resuming the scheduler */
      vTaskSuspendAll();
      next_task_handle = NULL;
      xTaskResumeAll();
      /* before deleting turn on the LED permanently */
      HAL_GPIO_WritePin(LD4_GPIO_Port, LD4_Pin, GPIO_PIN_SET );
      /*delete button task first and then delete the current task */
      vTaskDelete(button_task_handle);
      /* passing NULL means deleting self */
      vTaskDelete(NULL);
    }
  }
}

static void Button_TaskHandler( void* parameter )
{
  GPIO_PinState btn_read = GPIO_PIN_RESET;
  GPIO_PinState prev_read = GPIO_PIN_RESET;
  while( 1 )
  {
    btn_read = HAL_GPIO_ReadPin(B1_GPIO_Port, B1_Pin);
    if( btn_read == GPIO_PIN_SET )
    {
      /* if earlier also the button was pressed */
      if( prev_read == GPIO_PIN_RESET )
      {
        xTaskNotify( next_task_handle, 0, eNoAction );
        SEGGER_SYSVIEW_PrintfTarget("Button Pressed Notification Sent\n");
      }
    }
    prev_read = btn_read;
    /* 10ms wait time */
    vTaskDelay(pdMS_TO_TICKS(10));
  }
}
/* USER CODE END 4 */

void HAL_TIM_PeriodElapsedCallback(TIM_HandleTypeDef *htim)
{
  if (htim->Instance == TIM6) {
    HAL_IncTick();
  }
}

void Error_Handler(void)
{
  __disable_irq();
  while (1)
  {
  }
}
